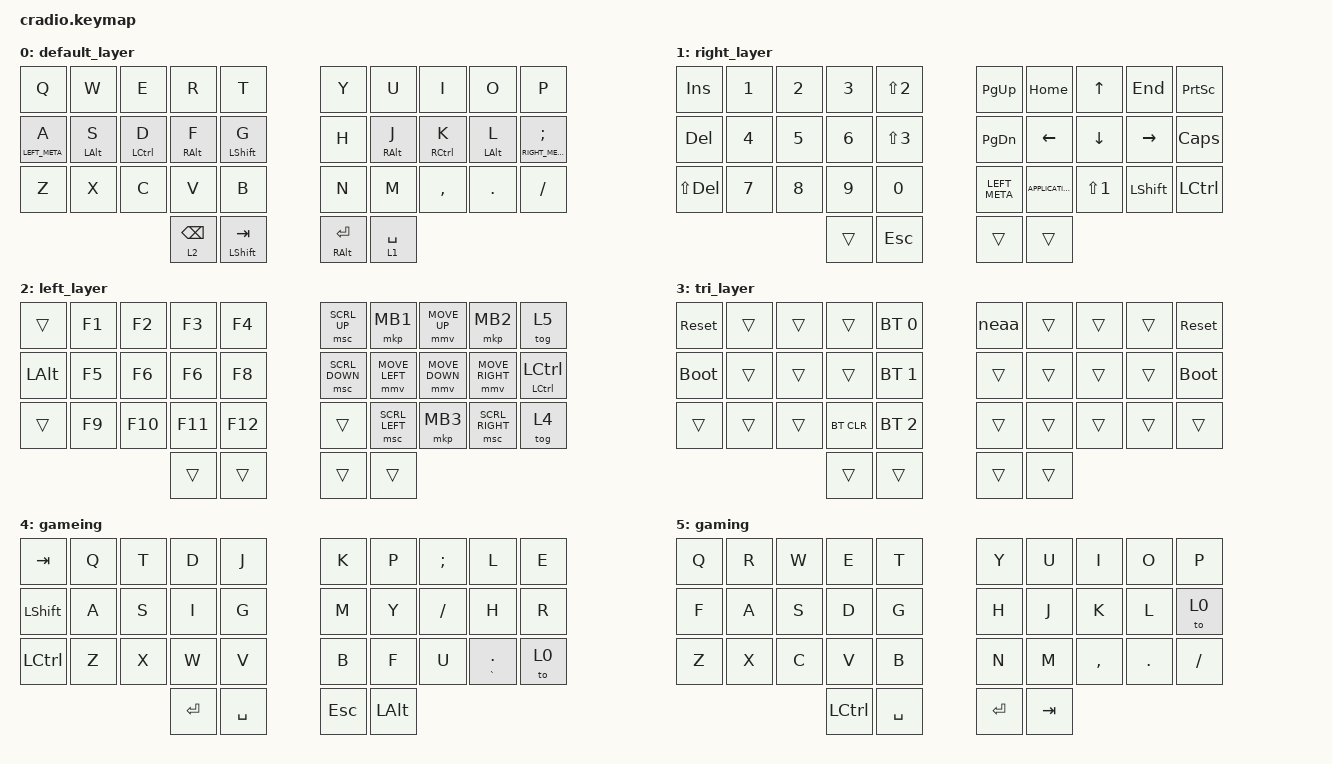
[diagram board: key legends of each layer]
// Copyright (c) 2022 The ZMK Contributors
// SPDX-License-Identifier: MIT

#include <behaviors.dtsi>
#include <dt-bindings/zmk/bt.h>
#include <dt-bindings/zmk/keys.h>
#include <dt-bindings/zmk/pointing.h>

&lt {
    quick-tap-ms = <200>;
    flavor = "tap-preferred";
};

/ {
    behaviors {
        ht: hold_tap {
            compatible = "zmk,behavior-hold-tap";
            #binding-cells = <2>;
            flavor = "tap-preferred";
            tapping-term-ms = <220>;
            quick-tap-ms = <150>;
            require-prior-idle-ms = <100>;
            bindings = <&kp>, <&kp>;
        };

        HRM: HRM {
            compatible = "zmk,behavior-hold-tap";
            label = "HRM";
            bindings = <&kp>, <&kp>;

            #binding-cells = <2>;
            tapping-term-ms = <200>;
            flavor = "tap-preferred";
            quick-tap-ms = <200>;
        };
    };

    conditional_layers {
        compatible = "zmk,conditional-layers";

        tri_layer {
            if-layers = <1 2>;
            then-layer = <3>;
        };
    };

    combos {
        compatible = "zmk,combos";

        esc {
            bindings = <&kp ESCAPE>;
            key-positions = <10 11 12>;
        };
    };

    macros {
        neaa: neaa {
            compatible = "zmk,behavior-macro";
            #binding-cells = <0>;
            bindings = <&kp L &kp E &kp SEMI &kp O &kp N &kp N6 &kp O &kp U &kp T &kp E &kp R &kp N6 &kp L &kp E &kp Q &kp R &kp N &kp N6 &kp O &kp P &kp Q &kp A &kp U &kp E>;
            label = "NEAA";
        };
    };

    keymap {
        compatible = "zmk,keymap";

        default_layer {
            bindings = <
&kp Q             &kp W            &kp E                &kp R             &kp T                 &kp Y                 &kp U             &kp I                 &kp O            &kp P
&HRM LEFT_META A  &HRM LEFT_ALT S  &HRM LEFT_CONTROL D  &HRM RIGHT_ALT F  &HRM LEFT_SHIFT G     &kp H                 &HRM RIGHT_ALT J  &HRM RIGHT_CONTROL K  &HRM LEFT_ALT L  &HRM RIGHT_META SEMI
&kp Z             &kp X            &kp C                &kp V             &kp B                 &kp N                 &kp M             &kp COMMA             &kp DOT          &kp FSLH
                                                        &lt 2 BACKSPACE   &mt LEFT_SHIFT TAB    &mt RIGHT_ALT RETURN  &lt 1 SPACE
            >;
        };

        right_layer {
            bindings = <
&kp INS         &kp N1  &kp N2  &kp N3  &kp LS(NUMBER_2)    &kp PAGE_UP    &kp HOME           &kp UP_ARROW      &kp END         &kp PRINTSCREEN
&kp DEL         &kp N4  &kp N5  &kp N6  &kp LS(NUMBER_3)    &kp PAGE_DOWN  &kp LEFT           &kp DOWN_ARROW    &kp RIGHT       &kp CAPSLOCK
&kp LS(DELETE)  &kp N7  &kp N8  &kp N9  &kp N0              &kp LEFT_META  &kp K_APPLICATION  &kp LS(NUMBER_1)  &kp LEFT_SHIFT  &kp LEFT_CONTROL
                                &trans  &kp ESC             &trans         &trans
            >;
        };

        left_layer {
            bindings = <
&trans        &kp F1  &kp F2   &kp F3   &kp F4     &msc SCRL_UP    &mkp MB1        &mmv MOVE_UP    &mkp MB2         &tog 5
&kp LEFT_ALT  &kp F5  &kp F6   &kp F6   &kp F8     &msc SCRL_DOWN  &mmv MOVE_LEFT  &mmv MOVE_DOWN  &mmv MOVE_RIGHT  &ht LCTRL LCTRL
&trans        &kp F9  &kp F10  &kp F11  &kp F12    &trans          &msc SCRL_LEFT  &mkp MB3        &msc SCRL_RIGHT  &tog 4
                               &trans   &trans     &trans          &trans
            >;
        };

        tri_layer {
            bindings = <
&sys_reset   &trans  &trans  &trans      &bt BT_SEL 0    &neaa   &trans  &trans  &trans  &sys_reset
&bootloader  &trans  &trans  &trans      &bt BT_SEL 1    &trans  &trans  &trans  &trans  &bootloader
&trans       &trans  &trans  &bt BT_CLR  &bt BT_SEL 2    &trans  &trans  &trans  &trans  &trans
                             &trans      &trans          &trans  &trans
            >;
        };

        gameing {
            bindings = <
&kp TAB           &kp Q  &kp T  &kp D    &kp J        &kp K       &kp P         &kp SEMI   &kp L           &kp E
&kp LEFT_SHIFT    &kp A  &kp S  &kp I    &kp G        &kp M       &kp Y         &kp SLASH  &kp H           &kp R
&kp LEFT_CONTROL  &kp Z  &kp X  &kp W    &kp V        &kp B       &kp F         &kp U      &HRM GRAVE DOT  &to 0
                                &kp RET  &kp SPACE    &kp ESCAPE  &kp LEFT_ALT
            >;
        };

        gaming {
            bindings = <
&kp Q  &kp R  &kp W  &kp E      &kp T        &kp Y      &kp U    &kp I      &kp O    &kp P
&kp F  &kp A  &kp S  &kp D      &kp G        &kp H      &kp J    &kp K      &kp L    &to 0
&kp Z  &kp X  &kp C  &kp V      &kp B        &kp N      &kp M    &kp COMMA  &kp DOT  &kp FSLH
                     &kp LCTRL  &kp SPACE    &kp ENTER  &kp TAB
            >;
        };
    };
};
